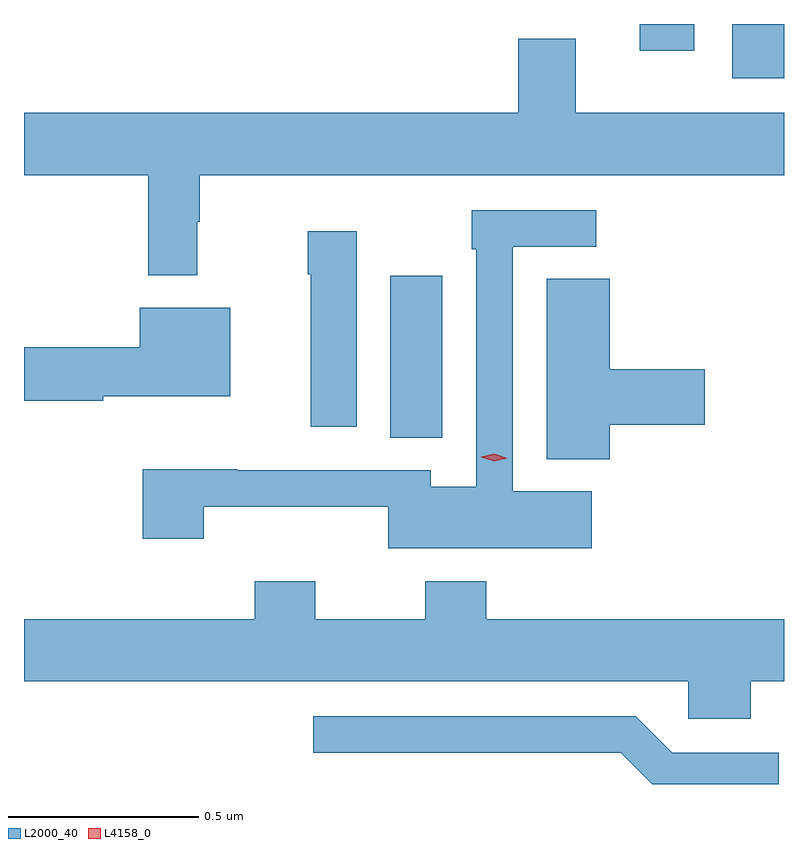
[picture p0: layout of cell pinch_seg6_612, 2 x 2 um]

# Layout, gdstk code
import gdstk
lib = gdstk.Library(unit=1e-6, precision=1e-09)
def R(c, l, rs):  # rectangles x0, y0, x1, y1
    for r in rs: c.add(gdstk.rectangle(r[:2], r[2:], *l))
def P(c, l, *ps):  # polygons
    for p in ps: c.add(gdstk.Polygon(p, *l))
L2000_40 = (2000, 40)
L4158_0 = (4158, 0)

pinch_seg6_612 = lib.new_cell('pinch_seg6_612')
R(pinch_seg6_612, L2000_40, [(418.208,966.625,418.345,967.051), (419.108,967.571,419.244,967.714), (418.865,967.644,419.008,967.714)])
P(pinch_seg6_612, L2000_40, [(417.7,967.193),(417.707,967.193),(417.707,967.316),(419.244,967.316),(419.244,967.48),(418.696,967.48),(418.696,967.675),(418.544,967.675),(418.544,967.48),(417.244,967.48),(417.244,967.316),(417.571,967.316),(417.571,967.053),(417.7,967.053)],
  [(418.738,966.484),(418.53,966.484),(418.53,967.128),(418.75,967.128),(418.75,967.224),(418.422,967.224),(418.422,967.121),(418.434,967.121),(418.434,966.496),(418.315,966.496),(418.315,966.54),(417.805,966.54),(417.805,966.542),(417.557,966.542),(417.557,966.36),(417.717,966.36),(417.717,966.443),(418.202,966.443),(418.202,966.335),(418.738,966.335)],
  [(418.12,967.168),(417.991,967.168),(417.991,967.055),(417.998,967.055),(417.998,966.654),(418.12,966.654)],
  [(418.786,966.659),(419.035,966.659),(419.035,966.806),(418.786,966.806),(418.786,967.043),(418.619,967.043),(418.619,966.569),(418.786,966.569)],
  [(417.452,966.734),(417.787,966.734),(417.787,966.967),(417.548,966.967),(417.548,966.864),(417.244,966.864),(417.244,966.722),(417.452,966.722)],
  [(419.156,965.984),(419.244,965.984),(419.244,966.148),(418.46,966.148),(418.46,966.247),(418.3,966.247),(418.3,966.148),(418.011,966.148),(418.011,966.247),(417.851,966.247),(417.851,966.148),(417.244,966.148),(417.244,965.984),(418.992,965.984),(418.992,965.886),(419.156,965.886)],
  [(419.23,965.796),(418.95,965.796),(418.854,965.892),(418.005,965.892),(418.005,965.796),(418.815,965.796),(418.897,965.714),(419.23,965.714)])
P(pinch_seg6_612, L4158_0, [(418.481,966.563),(418.447,966.574),(418.447,966.574),(418.447,966.575),(418.482,966.583),(418.516,966.571),(418.516,966.571),(418.516,966.571)])

lib.write_gds('pinch_seg6_612.gds')
